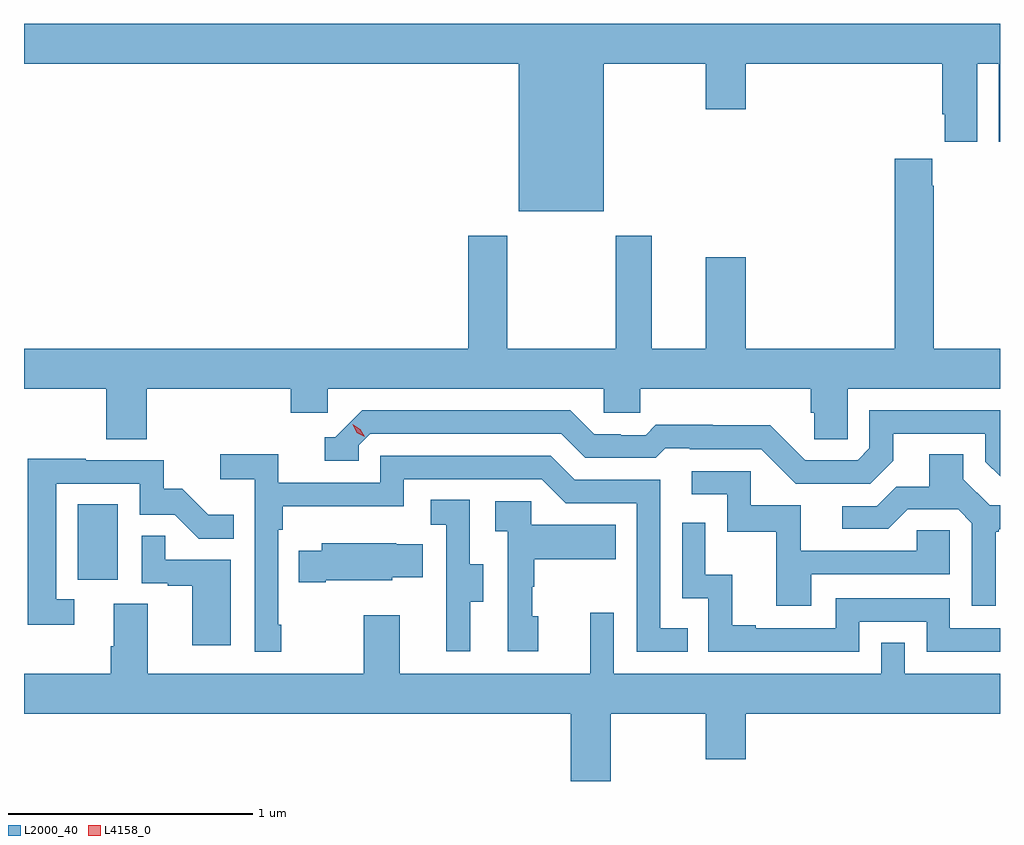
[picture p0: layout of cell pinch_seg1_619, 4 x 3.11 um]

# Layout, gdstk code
import gdstk
lib = gdstk.Library(unit=1e-6, precision=1e-09)
def R(c, l, rs):  # rectangles x0, y0, x1, y1
    for r in rs: c.add(gdstk.rectangle(r[:2], r[2:], *l))
def P(c, l, *ps):  # polygons
    for p in ps: c.add(gdstk.Polygon(p, *l))
L2000_40 = (2000, 40)
L4158_0 = (4158, 0)

pinch_seg1_619 = lib.new_cell('pinch_seg1_619')
R(pinch_seg1_619, L2000_40, [(1121.474,521.645,1121.638,521.953)])
P(pinch_seg1_619, L2000_40, [(1123.63,523.76),(1124.048,523.76),(1124.048,523.572),(1124.212,523.572),(1124.212,523.76),(1125.017,523.76),(1125.017,523.552),(1125.026,523.552),(1125.026,523.44),(1125.16,523.44),(1125.16,523.76),(1125.248,523.76),(1125.248,523.44),(1125.253,523.44),(1125.253,523.924),(1121.253,523.924),(1121.253,523.76),(1123.28,523.76),(1123.28,523.154),(1123.63,523.154)],
  [(1121.756,522.428),(1122.347,522.428),(1122.347,522.33),(1122.498,522.33),(1122.498,522.428),(1123.629,522.428),(1123.629,522.33),(1123.779,522.33),(1123.779,522.428),(1124.477,522.428),(1124.477,522.33),(1124.491,522.33),(1124.491,522.22),(1124.628,522.22),(1124.628,522.428),(1125.253,522.428),(1125.253,522.592),(1124.982,522.592),(1124.982,523.259),(1124.975,523.259),(1124.975,523.371),(1124.822,523.371),(1124.822,522.592),(1124.212,522.592),(1124.212,522.967),(1124.048,522.967),(1124.048,522.592),(1123.825,522.592),(1123.825,523.054),(1123.678,523.054),(1123.678,522.592),(1123.233,522.592),(1123.233,523.054),(1123.073,523.054),(1123.073,522.592),(1121.253,522.592),(1121.253,522.428),(1121.591,522.428),(1121.591,522.22),(1121.756,522.22)],
  [(1124.815,522.133),(1124.815,522.243),(1125.192,522.243),(1125.192,522.129),(1125.253,522.068),(1125.253,522.339),(1124.718,522.339),(1124.718,522.183),(1124.67,522.135),(1124.454,522.135),(1124.312,522.277),(1124.076,522.277),(1124.076,522.28),(1123.843,522.28),(1123.801,522.237),(1123.698,522.237),(1123.698,522.24),(1123.591,522.24),(1123.492,522.339),(1122.639,522.339),(1122.528,522.228),(1122.485,522.228),(1122.485,522.132),(1122.624,522.132),(1122.624,522.195),(1122.672,522.243),(1123.455,522.243),(1123.554,522.144),(1123.843,522.144),(1123.882,522.183),(1123.981,522.183),(1123.981,522.18),(1124.274,522.18),(1124.415,522.039),(1124.721,522.039)],
  [(1122.307,521.461),(1122.294,521.461),(1122.294,521.849),(1122.314,521.849),(1122.314,521.945),(1122.81,521.945),(1122.81,522.057),(1123.374,522.057),(1123.473,521.958),(1123.764,521.958),(1123.764,521.349),(1123.973,521.349),(1123.973,521.445),(1123.86,521.445),(1123.86,522.054),(1123.51,522.054),(1123.411,522.153),(1122.714,522.153),(1122.714,522.042),(1122.296,522.042),(1122.296,522.158),(1122.057,522.158),(1122.057,522.056),(1122.198,522.056),(1122.198,521.349),(1122.307,521.349)],
  [(1125.235,521.841),(1125.247,521.841),(1125.247,521.852),(1125.253,521.852),(1125.253,521.949),(1125.21,521.949),(1125.103,522.056),(1125.103,522.158),(1124.963,522.158),(1124.963,522.026),(1124.828,522.026),(1124.748,521.946),(1124.607,521.946),(1124.607,521.853),(1124.794,521.853),(1124.875,521.934),(1125.081,521.934),(1125.138,521.877),(1125.138,521.538),(1125.235,521.538)],
  [(1121.458,521.565),(1121.385,521.565),(1121.385,522.039),(1121.727,522.039),(1121.727,521.91),(1121.871,521.91),(1121.969,521.812),(1122.113,521.812),(1122.113,521.911),(1122.009,521.911),(1121.902,522.018),(1121.826,522.018),(1121.826,522.135),(1121.507,522.135),(1121.507,522.14),(1121.269,522.14),(1121.269,521.46),(1121.458,521.46)],
  [(1124.479,521.667),(1125.048,521.667),(1125.048,521.847),(1124.911,521.847),(1124.911,521.763),(1124.437,521.763),(1124.437,521.949),(1124.232,521.949),(1124.232,522.09),(1123.989,522.09),(1123.989,521.994),(1124.136,521.994),(1124.136,521.841),(1124.335,521.841),(1124.335,521.538),(1124.479,521.538)],
  [(1123.081,521.554),(1123.135,521.554),(1123.135,521.709),(1123.08,521.709),(1123.08,521.972),(1122.921,521.972),(1122.921,521.869),(1122.984,521.869),(1122.984,521.565),(1122.983,521.565),(1122.983,521.352),(1123.081,521.352)],
  [(1123.36,521.496),(1123.335,521.496),(1123.335,521.615),(1123.345,521.615),(1123.345,521.729),(1123.679,521.729),(1123.679,521.869),(1123.332,521.869),(1123.332,521.967),(1123.185,521.967),(1123.185,521.843),(1123.236,521.843),(1123.236,521.352),(1123.36,521.352)],
  [(1124.676,521.472),(1124.952,521.472),(1124.952,521.349),(1125.253,521.349),(1125.253,521.445),(1125.048,521.445),(1125.048,521.568),(1124.58,521.568),(1124.58,521.445),(1124.251,521.445),(1124.251,521.458),(1124.156,521.458),(1124.156,521.666),(1124.046,521.666),(1124.046,521.878),(1123.95,521.878),(1123.95,521.568),(1124.058,521.568),(1124.058,521.349),(1124.676,521.349)],
  [(1122.1,521.727),(1121.831,521.727),(1121.831,521.825),(1121.736,521.825),(1121.736,521.631),(1121.843,521.631),(1121.843,521.619),(1121.942,521.619),(1121.942,521.376),(1122.1,521.376)],
  [(1122.49,521.642),(1122.762,521.642),(1122.762,521.654),(1122.887,521.654),(1122.887,521.791),(1122.779,521.791),(1122.779,521.794),(1122.473,521.794),(1122.473,521.764),(1122.379,521.764),(1122.379,521.635),(1122.49,521.635)],
  [(1123.657,521.096),(1124.048,521.096),(1124.048,520.908),(1124.212,520.908),(1124.212,521.096),(1125.253,521.096),(1125.253,521.26),(1124.862,521.26),(1124.862,521.387),(1124.766,521.387),(1124.766,521.26),(1123.671,521.26),(1123.671,521.509),(1123.574,521.509),(1123.574,521.26),(1122.793,521.26),(1122.793,521.5),(1122.646,521.5),(1122.646,521.26),(1121.761,521.26),(1121.761,521.546),(1121.621,521.546),(1121.621,521.372),(1121.609,521.372),(1121.609,521.26),(1121.253,521.26),(1121.253,521.096),(1123.493,521.096),(1123.493,520.818),(1123.657,520.818)])
P(pinch_seg1_619, L4158_0, [(1122.649,522.23),(1122.617,522.248),(1122.6,522.28),(1122.6,522.281),(1122.601,522.281),(1122.632,522.262),(1122.649,522.23),(1122.649,522.23)])

lib.write_gds('pinch_seg1_619.gds')
